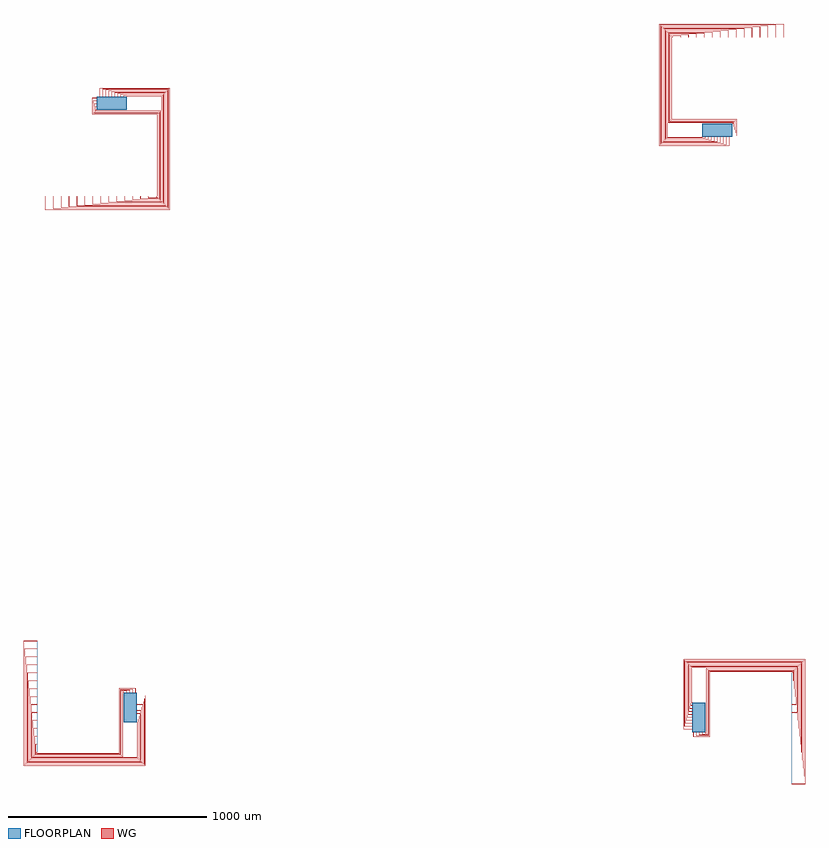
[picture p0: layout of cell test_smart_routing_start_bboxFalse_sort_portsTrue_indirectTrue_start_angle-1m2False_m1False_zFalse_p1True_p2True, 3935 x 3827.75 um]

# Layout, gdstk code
import gdstk
lib = gdstk.Library(unit=1e-6, precision=1e-09)
def R(c, l, rs):  # rectangles x0, y0, x1, y1
    for r in rs: c.add(gdstk.rectangle(r[:2], r[2:], *l))
def P(c, l, *ps):  # polygons
    for p in ps: c.add(gdstk.Polygon(p, *l))
WG = (1, 0)
FLOORPLAN = (10, 0)

test_smart_routing_start = lib.new_cell('test_smart_routing_start_bboxFalse_sort_portsTrue_indirectTrue_start_angle-1m2False_m1False_zFalse_p1True_p2True')
P(test_smart_routing_start, WG, [(3100,2904.75),(3100,2904.95),(3122.3,2904.95),(3122.3,2987.55),(2795.55,2987.55),(2795.55,3404.2),(2799.95,3404.2),(2799.95,3400),(2799.75,3400),(2799.75,3404),(2795.75,3404),(2795.75,2987.75),(3122.5,2987.75),(3122.5,2904.75)],
  [(3100,2905.05),(3100,2905.25),(3122,2905.25),(3122,2987.25),(2795.25,2987.25),(2795.25,3404.5),(2800.25,3404.5),(2800.25,3400),(2800.05,3400),(2800.05,3404.3),(2795.45,3404.3),(2795.45,2987.45),(3122.2,2987.45),(3122.2,2905.05)],
  [(3100,2919.75),(3100,2919.95),(3117.8,2919.95),(3117.8,2983.05),(2791.05,2983.05),(2791.05,3408.7),(2839.95,3408.7),(2839.95,3400),(2839.75,3400),(2839.75,3408.5),(2791.25,3408.5),(2791.25,2983.25),(3118,2983.25),(3118,2919.75)],
  [(3100,2920.05),(3100,2920.25),(3117.5,2920.25),(3117.5,2982.75),(2790.75,2982.75),(2790.75,3409),(2840.25,3409),(2840.25,3400),(2840.05,3400),(2840.05,3408.8),(2790.95,3408.8),(2790.95,2982.95),(3117.7,2982.95),(3117.7,2920.05)],
  [(3100,2934.75),(3100,2934.95),(3113.3,2934.95),(3113.3,2978.55),(2786.55,2978.55),(2786.55,3413.2),(2879.95,3413.2),(2879.95,3400),(2879.75,3400),(2879.75,3413),(2786.75,3413),(2786.75,2978.75),(3113.5,2978.75),(3113.5,2934.75)],
  [(3100,2935.05),(3100,2935.25),(3113,2935.25),(3113,2978.25),(2786.25,2978.25),(2786.25,3413.5),(2880.25,3413.5),(2880.25,3400),(2880.05,3400),(2880.05,3413.3),(2786.45,3413.3),(2786.45,2978.45),(3113.2,2978.45),(3113.2,2935.05)],
  [(3100,2949.75),(3100,2949.95),(3108.8,2949.95),(3108.8,2974.05),(2782.05,2974.05),(2782.05,3417.7),(2919.95,3417.7),(2919.95,3400),(2919.75,3400),(2919.75,3417.5),(2782.25,3417.5),(2782.25,2974.25),(3109,2974.25),(3109,2949.75)],
  [(3100,2950.05),(3100,2950.25),(3108.5,2950.25),(3108.5,2973.75),(2781.75,2973.75),(2781.75,3418),(2920.25,3418),(2920.25,3400),(2920.05,3400),(2920.05,3417.8),(2781.95,3417.8),(2781.95,2973.95),(3108.7,2973.95),(3108.7,2950.05)],
  [(3100,2964.75),(3100,2964.95),(3104.3,2964.95),(3104.3,2969.55),(2777.55,2969.55),(2777.55,3422.2),(2959.95,3422.2),(2959.95,3400),(2959.75,3400),(2959.75,3422),(2777.75,3422),(2777.75,2969.75),(3104.5,2969.75),(3104.5,2964.75)],
  [(3100,2965.05),(3100,2965.25),(3104,2965.25),(3104,2969.25),(2777.25,2969.25),(2777.25,3422.5),(2960.25,3422.5),(2960.25,3400),(2960.05,3400),(2960.05,3422.3),(2777.45,3422.3),(2777.45,2969.45),(3104.2,2969.45),(3104.2,2965.05)],
  [(2773.05,2895.8),(2773.05,3426.7),(2999.95,3426.7),(2999.95,3400),(2999.75,3400),(2999.75,3426.5),(2773.25,3426.5),(2773.25,2896),(2949.75,2896),(2949.75,2900),(2949.95,2900),(2949.95,2895.8)],
  [(2772.75,2895.5),(2772.75,3427),(3000.25,3427),(3000.25,3400),(3000.05,3400),(3000.05,3426.8),(2772.95,3426.8),(2772.95,2895.7),(2950.05,2895.7),(2950.05,2900),(2950.25,2900),(2950.25,2895.5)],
  [(2768.55,2891.3),(2768.55,3431.2),(3039.95,3431.2),(3039.95,3400),(3039.75,3400),(3039.75,3431),(2768.75,3431),(2768.75,2891.5),(2964.75,2891.5),(2964.75,2900),(2964.95,2900),(2964.95,2891.3)],
  [(2768.25,2891),(2768.25,3431.5),(3040.25,3431.5),(3040.25,3400),(3040.05,3400),(3040.05,3431.3),(2768.45,3431.3),(2768.45,2891.2),(2965.05,2891.2),(2965.05,2900),(2965.25,2900),(2965.25,2891)],
  [(2764.05,2886.8),(2764.05,3435.7),(3079.95,3435.7),(3079.95,3400),(3079.75,3400),(3079.75,3435.5),(2764.25,3435.5),(2764.25,2887),(2979.75,2887),(2979.75,2900),(2979.95,2900),(2979.95,2886.8)],
  [(2763.75,2886.5),(2763.75,3436),(3080.25,3436),(3080.25,3400),(3080.05,3400),(3080.05,3435.8),(2763.95,3435.8),(2763.95,2886.7),(2980.05,2886.7),(2980.05,2900),(2980.25,2900),(2980.25,2886.5)],
  [(2759.55,2882.3),(2759.55,3440.2),(3119.95,3440.2),(3119.95,3400),(3119.75,3400),(3119.75,3440),(2759.75,3440),(2759.75,2882.5),(2994.75,2882.5),(2994.75,2900),(2994.95,2900),(2994.95,2882.3)],
  [(2759.25,2882),(2759.25,3440.5),(3120.25,3440.5),(3120.25,3400),(3120.05,3400),(3120.05,3440.3),(2759.45,3440.3),(2759.45,2882.2),(2995.05,2882.2),(2995.05,2900),(2995.25,2900),(2995.25,2882)],
  [(2755.05,2877.8),(2755.05,3444.7),(3159.95,3444.7),(3159.95,3400),(3159.75,3400),(3159.75,3444.5),(2755.25,3444.5),(2755.25,2878),(3009.75,2878),(3009.75,2900),(3009.95,2900),(3009.95,2877.8)],
  [(2754.75,2877.5),(2754.75,3445),(3160.25,3445),(3160.25,3400),(3160.05,3400),(3160.05,3444.8),(2754.95,3444.8),(2754.95,2877.7),(3010.05,2877.7),(3010.05,2900),(3010.25,2900),(3010.25,2877.5)],
  [(2750.55,2873.3),(2750.55,3449.2),(3199.95,3449.2),(3199.95,3400),(3199.75,3400),(3199.75,3449),(2750.75,3449),(2750.75,2873.5),(3024.75,2873.5),(3024.75,2900),(3024.95,2900),(3024.95,2873.3)],
  [(2750.25,2873),(2750.25,3449.5),(3200.25,3449.5),(3200.25,3400),(3200.05,3400),(3200.05,3449.3),(2750.45,3449.3),(2750.45,2873.2),(3025.05,2873.2),(3025.05,2900),(3025.25,2900),(3025.25,2873)],
  [(2746.05,2868.8),(2746.05,3453.7),(3239.95,3453.7),(3239.95,3400),(3239.75,3400),(3239.75,3453.5),(2746.25,3453.5),(2746.25,2869),(3039.75,2869),(3039.75,2900),(3039.95,2900),(3039.95,2868.8)],
  [(2745.75,2868.5),(2745.75,3454),(3240.25,3454),(3240.25,3400),(3240.05,3400),(3240.05,3453.8),(2745.95,3453.8),(2745.95,2868.7),(3040.05,2868.7),(3040.05,2900),(3040.25,2900),(3040.25,2868.5)],
  [(2741.55,2864.3),(2741.55,3458.2),(3279.95,3458.2),(3279.95,3400),(3279.75,3400),(3279.75,3458),(2741.75,3458),(2741.75,2864.5),(3054.75,2864.5),(3054.75,2900),(3054.95,2900),(3054.95,2864.3)],
  [(2741.25,2864),(2741.25,3458.5),(3280.25,3458.5),(3280.25,3400),(3280.05,3400),(3280.05,3458.3),(2741.45,3458.3),(2741.45,2864.2),(3055.05,2864.2),(3055.05,2900),(3055.25,2900),(3055.25,2864)],
  [(2737.05,2859.8),(2737.05,3462.7),(3319.95,3462.7),(3319.95,3400),(3319.75,3400),(3319.75,3462.5),(2737.25,3462.5),(2737.25,2860),(3069.75,2860),(3069.75,2900),(3069.95,2900),(3069.95,2859.8)],
  [(2736.75,2859.5),(2736.75,3463),(3320.25,3463),(3320.25,3400),(3320.05,3400),(3320.05,3462.8),(2736.95,3462.8),(2736.95,2859.7),(3070.05,2859.7),(3070.05,2900),(3070.25,2900),(3070.25,2859.5)],
  [(2732.55,2855.3),(2732.55,3467.2),(3359.95,3467.2),(3359.95,3400),(3359.75,3400),(3359.75,3467),(2732.75,3467),(2732.75,2855.5),(3084.75,2855.5),(3084.75,2900),(3084.95,2900),(3084.95,2855.3)],
  [(2732.25,2855),(2732.25,3467.5),(3360.25,3467.5),(3360.25,3400),(3360.05,3400),(3360.05,3467.3),(2732.45,3467.3),(2732.45,2855.2),(3085.05,2855.2),(3085.05,2900),(3085.25,2900),(3085.25,2855)],
  [(199.75,2595.5),(199.75,2600),(199.95,2600),(199.95,2595.7),(204.55,2595.7),(204.55,3012.55),(-122.2,3012.55),(-122.2,3094.95),(-100,3094.95),(-100,3094.75),(-122,3094.75),(-122,3012.75),(204.75,3012.75),(204.75,2595.5)],
  [(200.05,2595.8),(200.05,2600),(200.25,2600),(200.25,2596),(204.25,2596),(204.25,3012.25),(-122.5,3012.25),(-122.5,3095.25),(-100,3095.25),(-100,3095.05),(-122.3,3095.05),(-122.3,3012.45),(204.45,3012.45),(204.45,2595.8)],
  [(159.75,2591),(159.75,2600),(159.95,2600),(159.95,2591.2),(209.05,2591.2),(209.05,3017.05),(-117.7,3017.05),(-117.7,3079.95),(-100,3079.95),(-100,3079.75),(-117.5,3079.75),(-117.5,3017.25),(209.25,3017.25),(209.25,2591)],
  [(160.05,2591.3),(160.05,2600),(160.25,2600),(160.25,2591.5),(208.75,2591.5),(208.75,3016.75),(-118,3016.75),(-118,3080.25),(-100,3080.25),(-100,3080.05),(-117.8,3080.05),(-117.8,3016.95),(208.95,3016.95),(208.95,2591.3)],
  [(119.75,2586.5),(119.75,2600),(119.95,2600),(119.95,2586.7),(213.55,2586.7),(213.55,3021.55),(-113.2,3021.55),(-113.2,3064.95),(-100,3064.95),(-100,3064.75),(-113,3064.75),(-113,3021.75),(213.75,3021.75),(213.75,2586.5)],
  [(120.05,2586.8),(120.05,2600),(120.25,2600),(120.25,2587),(213.25,2587),(213.25,3021.25),(-113.5,3021.25),(-113.5,3065.25),(-100,3065.25),(-100,3065.05),(-113.3,3065.05),(-113.3,3021.45),(213.45,3021.45),(213.45,2586.8)],
  [(79.75,2582),(79.75,2600),(79.95,2600),(79.95,2582.2),(218.05,2582.2),(218.05,3026.05),(-108.7,3026.05),(-108.7,3049.95),(-100,3049.95),(-100,3049.75),(-108.5,3049.75),(-108.5,3026.25),(218.25,3026.25),(218.25,2582)],
  [(80.05,2582.3),(80.05,2600),(80.25,2600),(80.25,2582.5),(217.75,2582.5),(217.75,3025.75),(-109,3025.75),(-109,3050.25),(-100,3050.25),(-100,3050.05),(-108.8,3050.05),(-108.8,3025.95),(217.95,3025.95),(217.95,2582.3)],
  [(39.75,2577.5),(39.75,2600),(39.95,2600),(39.95,2577.7),(222.55,2577.7),(222.55,3030.55),(-104.2,3030.55),(-104.2,3034.95),(-100,3034.95),(-100,3034.75),(-104,3034.75),(-104,3030.75),(222.75,3030.75),(222.75,2577.5)],
  [(40.05,2577.8),(40.05,2600),(40.25,2600),(40.25,2578),(222.25,2578),(222.25,3030.25),(-104.5,3030.25),(-104.5,3035.25),(-100,3035.25),(-100,3035.05),(-104.3,3035.05),(-104.3,3030.45),(222.45,3030.45),(222.45,2577.8)],
  [(0.05,2573.3),(0.05,2600),(0.25,2600),(0.25,2573.5),(226.75,2573.5),(226.75,3104),(50.25,3104),(50.25,3100),(50.05,3100),(50.05,3104.2),(226.95,3104.2),(226.95,2573.3)],
  [(-0.25,2573),(-0.25,2600),(-0.05,2600),(-0.05,2573.2),(227.05,2573.2),(227.05,3104.3),(49.95,3104.3),(49.95,3100),(49.75,3100),(49.75,3104.5),(227.25,3104.5),(227.25,2573)],
  [(-39.95,2568.8),(-39.95,2600),(-39.75,2600),(-39.75,2569),(231.25,2569),(231.25,3108.5),(35.25,3108.5),(35.25,3100),(35.05,3100),(35.05,3108.7),(231.45,3108.7),(231.45,2568.8)],
  [(-40.25,2568.5),(-40.25,2600),(-40.05,2600),(-40.05,2568.7),(231.55,2568.7),(231.55,3108.8),(34.95,3108.8),(34.95,3100),(34.75,3100),(34.75,3109),(231.75,3109),(231.75,2568.5)],
  [(-79.95,2564.3),(-79.95,2600),(-79.75,2600),(-79.75,2564.5),(235.75,2564.5),(235.75,3113),(20.25,3113),(20.25,3100),(20.05,3100),(20.05,3113.2),(235.95,3113.2),(235.95,2564.3)],
  [(-80.25,2564),(-80.25,2600),(-80.05,2600),(-80.05,2564.2),(236.05,2564.2),(236.05,3113.3),(19.95,3113.3),(19.95,3100),(19.75,3100),(19.75,3113.5),(236.25,3113.5),(236.25,2564)],
  [(-119.95,2559.8),(-119.95,2600),(-119.75,2600),(-119.75,2560),(240.25,2560),(240.25,3117.5),(5.25,3117.5),(5.25,3100),(5.05,3100),(5.05,3117.7),(240.45,3117.7),(240.45,2559.8)],
  [(-120.25,2559.5),(-120.25,2600),(-120.05,2600),(-120.05,2559.7),(240.55,2559.7),(240.55,3117.8),(4.95,3117.8),(4.95,3100),(4.75,3100),(4.75,3118),(240.75,3118),(240.75,2559.5)],
  [(-159.95,2555.3),(-159.95,2600),(-159.75,2600),(-159.75,2555.5),(244.75,2555.5),(244.75,3122),(-9.75,3122),(-9.75,3100),(-9.95,3100),(-9.95,3122.2),(244.95,3122.2),(244.95,2555.3)],
  [(-160.25,2555),(-160.25,2600),(-160.05,2600),(-160.05,2555.2),(245.05,2555.2),(245.05,3122.3),(-10.05,3122.3),(-10.05,3100),(-10.25,3100),(-10.25,3122.5),(245.25,3122.5),(245.25,2555)],
  [(-199.95,2550.8),(-199.95,2600),(-199.75,2600),(-199.75,2551),(249.25,2551),(249.25,3126.5),(-24.75,3126.5),(-24.75,3100),(-24.95,3100),(-24.95,3126.7),(249.45,3126.7),(249.45,2550.8)],
  [(-200.25,2550.5),(-200.25,2600),(-200.05,2600),(-200.05,2550.7),(249.55,2550.7),(249.55,3126.8),(-25.05,3126.8),(-25.05,3100),(-25.25,3100),(-25.25,3127),(249.75,3127),(249.75,2550.5)],
  [(-239.95,2546.3),(-239.95,2600),(-239.75,2600),(-239.75,2546.5),(253.75,2546.5),(253.75,3131),(-39.75,3131),(-39.75,3100),(-39.95,3100),(-39.95,3131.2),(253.95,3131.2),(253.95,2546.3)],
  [(-240.25,2546),(-240.25,2600),(-240.05,2600),(-240.05,2546.2),(254.05,2546.2),(254.05,3131.3),(-40.05,3131.3),(-40.05,3100),(-40.25,3100),(-40.25,3131.5),(254.25,3131.5),(254.25,2546)],
  [(-279.95,2541.8),(-279.95,2600),(-279.75,2600),(-279.75,2542),(258.25,2542),(258.25,3135.5),(-54.75,3135.5),(-54.75,3100),(-54.95,3100),(-54.95,3135.7),(258.45,3135.7),(258.45,2541.8)],
  [(-280.25,2541.5),(-280.25,2600),(-280.05,2600),(-280.05,2541.7),(258.55,2541.7),(258.55,3135.8),(-55.05,3135.8),(-55.05,3100),(-55.25,3100),(-55.25,3136),(258.75,3136),(258.75,2541.5)],
  [(-319.95,2537.3),(-319.95,2600),(-319.75,2600),(-319.75,2537.5),(262.75,2537.5),(262.75,3140),(-69.75,3140),(-69.75,3100),(-69.95,3100),(-69.95,3140.2),(262.95,3140.2),(262.95,2537.3)],
  [(-320.25,2537),(-320.25,2600),(-320.05,2600),(-320.05,2537.2),(263.05,2537.2),(263.05,3140.3),(-70.05,3140.3),(-70.05,3100),(-70.25,3100),(-70.25,3140.5),(263.25,3140.5),(263.25,2537)],
  [(-359.95,2532.8),(-359.95,2600),(-359.75,2600),(-359.75,2533),(267.25,2533),(267.25,3144.5),(-84.75,3144.5),(-84.75,3100),(-84.95,3100),(-84.95,3144.7),(267.45,3144.7),(267.45,2532.8)],
  [(-360.25,2532.5),(-360.25,2600),(-360.05,2600),(-360.05,2532.7),(267.55,2532.7),(267.55,3144.8),(-85.05,3144.8),(-85.05,3100),(-85.25,3100),(-85.25,3145),(267.75,3145),(267.75,2532.5)],
  [(-404.5,-204.75),(-404.5,-199.75),(-400,-199.75),(-400,-199.95),(-404.3,-199.95),(-404.3,-204.55),(12.55,-204.55),(12.55,122.2),(94.95,122.2),(94.95,100),(94.75,100),(94.75,122),(12.75,122),(12.75,-204.75)],
  [(-404.2,-204.45),(-404.2,-200.05),(-400,-200.05),(-400,-200.25),(-404,-200.25),(-404,-204.25),(12.25,-204.25),(12.25,122.5),(95.25,122.5),(95.25,100),(95.05,100),(95.05,122.3),(12.45,122.3),(12.45,-204.45)],
  [(-409,-209.25),(-409,-159.75),(-400,-159.75),(-400,-159.95),(-408.8,-159.95),(-408.8,-209.05),(17.05,-209.05),(17.05,117.7),(79.95,117.7),(79.95,100),(79.75,100),(79.75,117.5),(17.25,117.5),(17.25,-209.25)],
  [(-408.7,-208.95),(-408.7,-160.05),(-400,-160.05),(-400,-160.25),(-408.5,-160.25),(-408.5,-208.75),(16.75,-208.75),(16.75,118),(80.25,118),(80.25,100),(80.05,100),(80.05,117.8),(16.95,117.8),(16.95,-208.95)],
  [(-413.5,-213.75),(-413.5,-119.75),(-400,-119.75),(-400,-119.95),(-413.3,-119.95),(-413.3,-213.55),(21.55,-213.55),(21.55,113.2),(64.95,113.2),(64.95,100),(64.75,100),(64.75,113),(21.75,113),(21.75,-213.75)],
  [(-413.2,-213.45),(-413.2,-120.05),(-400,-120.05),(-400,-120.25),(-413,-120.25),(-413,-213.25),(21.25,-213.25),(21.25,113.5),(65.25,113.5),(65.25,100),(65.05,100),(65.05,113.3),(21.45,113.3),(21.45,-213.45)],
  [(-418,-218.25),(-418,-79.75),(-400,-79.75),(-400,-79.95),(-417.8,-79.95),(-417.8,-218.05),(26.05,-218.05),(26.05,108.7),(49.95,108.7),(49.95,100),(49.75,100),(49.75,108.5),(26.25,108.5),(26.25,-218.25)],
  [(-417.7,-217.95),(-417.7,-80.05),(-400,-80.05),(-400,-80.25),(-417.5,-80.25),(-417.5,-217.75),(25.75,-217.75),(25.75,109),(50.25,109),(50.25,100),(50.05,100),(50.05,108.8),(25.95,108.8),(25.95,-217.95)],
  [(-422.5,-222.75),(-422.5,-39.75),(-400,-39.75),(-400,-39.95),(-422.3,-39.95),(-422.3,-222.55),(30.55,-222.55),(30.55,104.2),(34.95,104.2),(34.95,100),(34.75,100),(34.75,104),(30.75,104),(30.75,-222.75)],
  [(-422.2,-222.45),(-422.2,-40.05),(-400,-40.05),(-400,-40.25),(-422,-40.25),(-422,-222.25),(30.25,-222.25),(30.25,104.5),(35.25,104.5),(35.25,100),(35.05,100),(35.05,104.3),(30.45,104.3),(30.45,-222.45)],
  [(-426.7,-226.95),(-426.7,-0.05),(-400,-0.05),(-400,-0.25),(-426.5,-0.25),(-426.5,-226.75),(104,-226.75),(104,-50.25),(100,-50.25),(100,-50.05),(104.2,-50.05),(104.2,-226.95)],
  [(-427,-227.25),(-427,0.25),(-400,0.25),(-400,0.05),(-426.8,0.05),(-426.8,-227.05),(104.3,-227.05),(104.3,-49.95),(100,-49.95),(100,-49.75),(104.5,-49.75),(104.5,-227.25)],
  [(-431.2,-231.45),(-431.2,39.95),(-400,39.95),(-400,39.75),(-431,39.75),(-431,-231.25),(108.5,-231.25),(108.5,-35.25),(100,-35.25),(100,-35.05),(108.7,-35.05),(108.7,-231.45)],
  [(-431.5,-231.75),(-431.5,40.25),(-400,40.25),(-400,40.05),(-431.3,40.05),(-431.3,-231.55),(108.8,-231.55),(108.8,-34.95),(100,-34.95),(100,-34.75),(109,-34.75),(109,-231.75)],
  [(-435.7,-235.95),(-435.7,79.95),(-400,79.95),(-400,79.75),(-435.5,79.75),(-435.5,-235.75),(113,-235.75),(113,-20.25),(100,-20.25),(100,-20.05),(113.2,-20.05),(113.2,-235.95)],
  [(-436,-236.25),(-436,80.25),(-400,80.25),(-400,80.05),(-435.8,80.05),(-435.8,-236.05),(113.3,-236.05),(113.3,-19.95),(100,-19.95),(100,-19.75),(113.5,-19.75),(113.5,-236.25)],
  [(-440.2,-240.45),(-440.2,119.95),(-400,119.95),(-400,119.75),(-440,119.75),(-440,-240.25),(117.5,-240.25),(117.5,-5.25),(100,-5.25),(100,-5.05),(117.7,-5.05),(117.7,-240.45)],
  [(-440.5,-240.75),(-440.5,120.25),(-400,120.25),(-400,120.05),(-440.3,120.05),(-440.3,-240.55),(117.8,-240.55),(117.8,-4.95),(100,-4.95),(100,-4.75),(118,-4.75),(118,-240.75)],
  [(-444.7,-244.95),(-444.7,159.95),(-400,159.95),(-400,159.75),(-444.5,159.75),(-444.5,-244.75),(122,-244.75),(122,9.75),(100,9.75),(100,9.95),(122.2,9.95),(122.2,-244.95)],
  [(-445,-245.25),(-445,160.25),(-400,160.25),(-400,160.05),(-444.8,160.05),(-444.8,-245.05),(122.3,-245.05),(122.3,10.05),(100,10.05),(100,10.25),(122.5,10.25),(122.5,-245.25)],
  [(-449.2,-249.45),(-449.2,199.95),(-400,199.95),(-400,199.75),(-449,199.75),(-449,-249.25),(126.5,-249.25),(126.5,24.75),(100,24.75),(100,24.95),(126.7,24.95),(126.7,-249.45)],
  [(-449.5,-249.75),(-449.5,200.25),(-400,200.25),(-400,200.05),(-449.3,200.05),(-449.3,-249.55),(126.8,-249.55),(126.8,25.05),(100,25.05),(100,25.25),(127,25.25),(127,-249.75)],
  [(-453.7,-253.95),(-453.7,239.95),(-400,239.95),(-400,239.75),(-453.5,239.75),(-453.5,-253.75),(131,-253.75),(131,39.75),(100,39.75),(100,39.95),(131.2,39.95),(131.2,-253.95)],
  [(-454,-254.25),(-454,240.25),(-400,240.25),(-400,240.05),(-453.8,240.05),(-453.8,-254.05),(131.3,-254.05),(131.3,40.05),(100,40.05),(100,40.25),(131.5,40.25),(131.5,-254.25)],
  [(-458.2,-258.45),(-458.2,279.95),(-400,279.95),(-400,279.75),(-458,279.75),(-458,-258.25),(135.5,-258.25),(135.5,54.75),(100,54.75),(100,54.95),(135.7,54.95),(135.7,-258.45)],
  [(-458.5,-258.75),(-458.5,280.25),(-400,280.25),(-400,280.05),(-458.3,280.05),(-458.3,-258.55),(135.8,-258.55),(135.8,55.05),(100,55.05),(100,55.25),(136,55.25),(136,-258.75)],
  [(-462.7,-262.95),(-462.7,319.95),(-400,319.95),(-400,319.75),(-462.5,319.75),(-462.5,-262.75),(140,-262.75),(140,69.75),(100,69.75),(100,69.95),(140.2,69.95),(140.2,-262.95)],
  [(-463,-263.25),(-463,320.25),(-400,320.25),(-400,320.05),(-462.8,320.05),(-462.8,-263.05),(140.3,-263.05),(140.3,70.05),(100,70.05),(100,70.25),(140.5,70.25),(140.5,-263.25)],
  [(-467.2,-267.45),(-467.2,359.95),(-400,359.95),(-400,359.75),(-467,359.75),(-467,-267.25),(144.5,-267.25),(144.5,84.75),(100,84.75),(100,84.95),(144.7,84.95),(144.7,-267.45)],
  [(-467.5,-267.75),(-467.5,360.25),(-400,360.25),(-400,360.05),(-467.3,360.05),(-467.3,-267.55),(144.8,-267.55),(144.8,85.05),(100,85.05),(100,85.25),(145,85.25),(145,-267.75)],
  [(2904.75,-122.5),(2904.75,-100),(2904.95,-100),(2904.95,-122.3),(2987.55,-122.3),(2987.55,204.45),(3404.2,204.45),(3404.2,200.05),(3400,200.05),(3400,200.25),(3404,200.25),(3404,204.25),(2987.75,204.25),(2987.75,-122.5)],
  [(2905.05,-122.2),(2905.05,-100),(2905.25,-100),(2905.25,-122),(2987.25,-122),(2987.25,204.75),(3404.5,204.75),(3404.5,199.75),(3400,199.75),(3400,199.95),(3404.3,199.95),(3404.3,204.55),(2987.45,204.55),(2987.45,-122.2)],
  [(2919.75,-118),(2919.75,-100),(2919.95,-100),(2919.95,-117.8),(2983.05,-117.8),(2983.05,208.95),(3408.7,208.95),(3408.7,160.05),(3400,160.05),(3400,160.25),(3408.5,160.25),(3408.5,208.75),(2983.25,208.75),(2983.25,-118)],
  [(2920.05,-117.7),(2920.05,-100),(2920.25,-100),(2920.25,-117.5),(2982.75,-117.5),(2982.75,209.25),(3409,209.25),(3409,159.75),(3400,159.75),(3400,159.95),(3408.8,159.95),(3408.8,209.05),(2982.95,209.05),(2982.95,-117.7)],
  [(2934.75,-113.5),(2934.75,-100),(2934.95,-100),(2934.95,-113.3),(2978.55,-113.3),(2978.55,213.45),(3413.2,213.45),(3413.2,120.05),(3400,120.05),(3400,120.25),(3413,120.25),(3413,213.25),(2978.75,213.25),(2978.75,-113.5)],
  [(2935.05,-113.2),(2935.05,-100),(2935.25,-100),(2935.25,-113),(2978.25,-113),(2978.25,213.75),(3413.5,213.75),(3413.5,119.75),(3400,119.75),(3400,119.95),(3413.3,119.95),(3413.3,213.55),(2978.45,213.55),(2978.45,-113.2)],
  [(2949.75,-109),(2949.75,-100),(2949.95,-100),(2949.95,-108.8),(2974.05,-108.8),(2974.05,217.95),(3417.7,217.95),(3417.7,80.05),(3400,80.05),(3400,80.25),(3417.5,80.25),(3417.5,217.75),(2974.25,217.75),(2974.25,-109)],
  [(2950.05,-108.7),(2950.05,-100),(2950.25,-100),(2950.25,-108.5),(2973.75,-108.5),(2973.75,218.25),(3418,218.25),(3418,79.75),(3400,79.75),(3400,79.95),(3417.8,79.95),(3417.8,218.05),(2973.95,218.05),(2973.95,-108.7)],
  [(2964.75,-104.5),(2964.75,-100),(2964.95,-100),(2964.95,-104.3),(2969.55,-104.3),(2969.55,222.45),(3422.2,222.45),(3422.2,40.05),(3400,40.05),(3400,40.25),(3422,40.25),(3422,222.25),(2969.75,222.25),(2969.75,-104.5)],
  [(2965.05,-104.2),(2965.05,-100),(2965.25,-100),(2965.25,-104),(2969.25,-104),(2969.25,222.75),(3422.5,222.75),(3422.5,39.75),(3400,39.75),(3400,39.95),(3422.3,39.95),(3422.3,222.55),(2969.45,222.55),(2969.45,-104.2)],
  [(3400,0.05),(3400,0.25),(3426.5,0.25),(3426.5,226.75),(2896,226.75),(2896,50.25),(2900,50.25),(2900,50.05),(2895.8,50.05),(2895.8,226.95),(3426.7,226.95),(3426.7,0.05)],
  [(3400,-0.25),(3400,-0.05),(3426.8,-0.05),(3426.8,227.05),(2895.7,227.05),(2895.7,49.95),(2900,49.95),(2900,49.75),(2895.5,49.75),(2895.5,227.25),(3427,227.25),(3427,-0.25)],
  [(3400,-39.95),(3400,-39.75),(3431,-39.75),(3431,231.25),(2891.5,231.25),(2891.5,35.25),(2900,35.25),(2900,35.05),(2891.3,35.05),(2891.3,231.45),(3431.2,231.45),(3431.2,-39.95)],
  [(3400,-40.25),(3400,-40.05),(3431.3,-40.05),(3431.3,231.55),(2891.2,231.55),(2891.2,34.95),(2900,34.95),(2900,34.75),(2891,34.75),(2891,231.75),(3431.5,231.75),(3431.5,-40.25)],
  [(3400,-79.95),(3400,-79.75),(3435.5,-79.75),(3435.5,235.75),(2887,235.75),(2887,20.25),(2900,20.25),(2900,20.05),(2886.8,20.05),(2886.8,235.95),(3435.7,235.95),(3435.7,-79.95)],
  [(3400,-80.25),(3400,-80.05),(3435.8,-80.05),(3435.8,236.05),(2886.7,236.05),(2886.7,19.95),(2900,19.95),(2900,19.75),(2886.5,19.75),(2886.5,236.25),(3436,236.25),(3436,-80.25)],
  [(3400,-119.95),(3400,-119.75),(3440,-119.75),(3440,240.25),(2882.5,240.25),(2882.5,5.25),(2900,5.25),(2900,5.05),(2882.3,5.05),(2882.3,240.45),(3440.2,240.45),(3440.2,-119.95)],
  [(3400,-120.25),(3400,-120.05),(3440.3,-120.05),(3440.3,240.55),(2882.2,240.55),(2882.2,4.95),(2900,4.95),(2900,4.75),(2882,4.75),(2882,240.75),(3440.5,240.75),(3440.5,-120.25)],
  [(3400,-159.95),(3400,-159.75),(3444.5,-159.75),(3444.5,244.75),(2878,244.75),(2878,-9.75),(2900,-9.75),(2900,-9.95),(2877.8,-9.95),(2877.8,244.95),(3444.7,244.95),(3444.7,-159.95)],
  [(3400,-160.25),(3400,-160.05),(3444.8,-160.05),(3444.8,245.05),(2877.7,245.05),(2877.7,-10.05),(2900,-10.05),(2900,-10.25),(2877.5,-10.25),(2877.5,245.25),(3445,245.25),(3445,-160.25)],
  [(3400,-199.95),(3400,-199.75),(3449,-199.75),(3449,249.25),(2873.5,249.25),(2873.5,-24.75),(2900,-24.75),(2900,-24.95),(2873.3,-24.95),(2873.3,249.45),(3449.2,249.45),(3449.2,-199.95)],
  [(3400,-200.25),(3400,-200.05),(3449.3,-200.05),(3449.3,249.55),(2873.2,249.55),(2873.2,-25.05),(2900,-25.05),(2900,-25.25),(2873,-25.25),(2873,249.75),(3449.5,249.75),(3449.5,-200.25)],
  [(3400,-239.95),(3400,-239.75),(3453.5,-239.75),(3453.5,253.75),(2869,253.75),(2869,-39.75),(2900,-39.75),(2900,-39.95),(2868.8,-39.95),(2868.8,253.95),(3453.7,253.95),(3453.7,-239.95)],
  [(3400,-240.25),(3400,-240.05),(3453.8,-240.05),(3453.8,254.05),(2868.7,254.05),(2868.7,-40.05),(2900,-40.05),(2900,-40.25),(2868.5,-40.25),(2868.5,254.25),(3454,254.25),(3454,-240.25)],
  [(3400,-279.95),(3400,-279.75),(3458,-279.75),(3458,258.25),(2864.5,258.25),(2864.5,-54.75),(2900,-54.75),(2900,-54.95),(2864.3,-54.95),(2864.3,258.45),(3458.2,258.45),(3458.2,-279.95)],
  [(3400,-280.25),(3400,-280.05),(3458.3,-280.05),(3458.3,258.55),(2864.2,258.55),(2864.2,-55.05),(2900,-55.05),(2900,-55.25),(2864,-55.25),(2864,258.75),(3458.5,258.75),(3458.5,-280.25)],
  [(3400,-319.95),(3400,-319.75),(3462.5,-319.75),(3462.5,262.75),(2860,262.75),(2860,-69.75),(2900,-69.75),(2900,-69.95),(2859.8,-69.95),(2859.8,262.95),(3462.7,262.95),(3462.7,-319.95)],
  [(3400,-320.25),(3400,-320.05),(3462.8,-320.05),(3462.8,263.05),(2859.7,263.05),(2859.7,-70.05),(2900,-70.05),(2900,-70.25),(2859.5,-70.25),(2859.5,263.25),(3463,263.25),(3463,-320.25)],
  [(3400,-359.95),(3400,-359.75),(3467,-359.75),(3467,267.25),(2855.5,267.25),(2855.5,-84.75),(2900,-84.75),(2900,-84.95),(2855.3,-84.95),(2855.3,267.45),(3467.2,267.45),(3467.2,-359.95)],
  [(3400,-360.25),(3400,-360.05),(3467.3,-360.05),(3467.3,267.55),(2855.2,267.55),(2855.2,-85.05),(2900,-85.05),(2900,-85.25),(2855,-85.25),(2855,267.75),(3467.5,267.75),(3467.5,-360.25)])
R(test_smart_routing_start, FLOORPLAN, [(2900,-100,2965,50), (35,-50,100,100), (2950,2900,3100,2965), (-100,3035,50,3100)])
P(test_smart_routing_start, FLOORPLAN, [(-400,-200),(-400,360),(-400,360),(-400,-200)],
  [(-360,2600),(-360,2600),(200,2600),(200,2600)],
  [(3400,-360),(3400,200),(3400,200),(3400,-360)],
  [(2800,3400),(2800,3400),(3360,3400),(3360,3400)])

lib.write_gds('test_smart_routing_start_bboxFalse_sort_portsTrue_indirectTrue_start_angle-1m2False_m1False_zFalse_p1True_p2True.gds')
